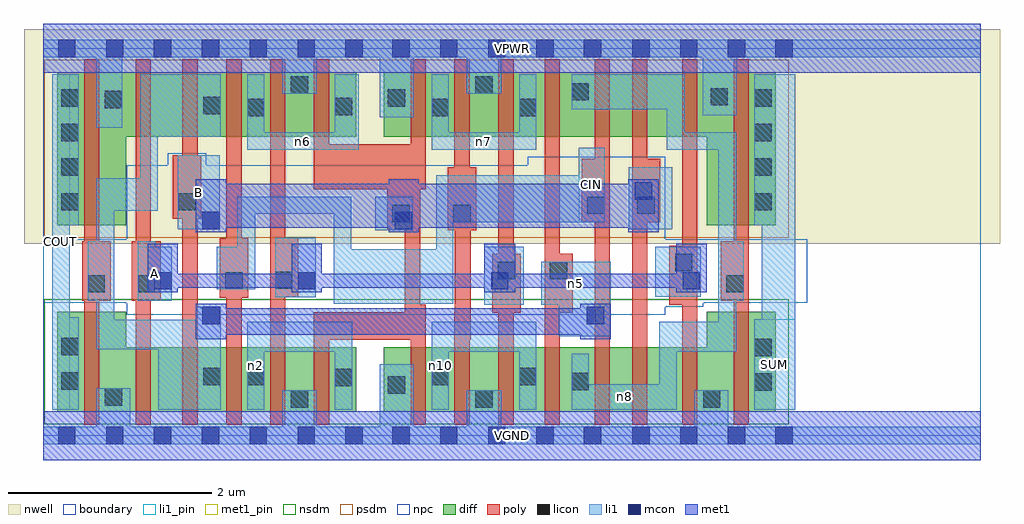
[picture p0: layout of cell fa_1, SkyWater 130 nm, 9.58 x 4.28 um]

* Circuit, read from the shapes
.subckt fa_1 A B CIN COUT SUM VGND VPWR n10 n2 n5 n6 n7 n8
XM1 VGND n5 COUT VSUBS sky130_fd_pr__nfet_01v8 w=0.98 l=0.15
XM2 n1 A VGND VSUBS sky130_fd_pr__nfet_01v8 w=0.63 l=0.15
XM3 n5 B n1 VSUBS sky130_fd_pr__nfet_01v8 w=0.63 l=0.15
XM4 n2 CIN n5 VSUBS sky130_fd_pr__nfet_01v8 w=0.63 l=0.15
XM5 VGND A n2 VSUBS sky130_fd_pr__nfet_01v8 w=0.63 l=0.15
XM6 n2 B VGND VSUBS sky130_fd_pr__nfet_01v8 w=0.63 l=0.15
XM7 n10 B VGND VSUBS sky130_fd_pr__nfet_01v8 w=0.63 l=0.15
XM8 VGND CIN n10 VSUBS sky130_fd_pr__nfet_01v8 w=0.63 l=0.15
XM9 n10 A VGND VSUBS sky130_fd_pr__nfet_01v8 w=0.63 l=0.15
XM10 n8 n5 n10 VSUBS sky130_fd_pr__nfet_01v8 w=0.63 l=0.15
XM11 n3 CIN n8 VSUBS sky130_fd_pr__nfet_01v8 w=0.63 l=0.15
XM12 n4 B n3 VSUBS sky130_fd_pr__nfet_01v8 w=0.63 l=0.15
XM13 VGND A n4 VSUBS sky130_fd_pr__nfet_01v8 w=0.63 l=0.15
XM14 SUM n8 VGND VSUBS sky130_fd_pr__nfet_01v8 w=0.98 l=0.15
XM15 VPWR n5 COUT n9 sky130_fd_pr__pfet_01v8 w=1.5 l=0.15
XM16 n11 A VPWR n9 sky130_fd_pr__pfet_01v8 w=0.63 l=0.15
XM17 n5 B n11 n9 sky130_fd_pr__pfet_01v8 w=0.63 l=0.15
XM18 n6 CIN n5 n9 sky130_fd_pr__pfet_01v8 w=0.63 l=0.15
XM19 VPWR A n6 n9 sky130_fd_pr__pfet_01v8 w=0.63 l=0.15
XM20 n6 B VPWR n9 sky130_fd_pr__pfet_01v8 w=0.63 l=0.15
XM21 n7 B VPWR n9 sky130_fd_pr__pfet_01v8 w=0.63 l=0.15
XM22 VPWR CIN n7 n9 sky130_fd_pr__pfet_01v8 w=0.63 l=0.15
XM23 n7 A VPWR n9 sky130_fd_pr__pfet_01v8 w=0.63 l=0.15
XM24 n8 n5 n7 n9 sky130_fd_pr__pfet_01v8 w=0.63 l=0.15
XM25 n12 CIN n8 n9 sky130_fd_pr__pfet_01v8 w=0.63 l=0.15
XM26 n13 B n12 n9 sky130_fd_pr__pfet_01v8 w=0.63 l=0.15
XM27 VPWR A n13 n9 sky130_fd_pr__pfet_01v8 w=0.63 l=0.15
XM28 SUM n8 VPWR n9 sky130_fd_pr__pfet_01v8 w=1.5 l=0.15
.ends

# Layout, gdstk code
import gdstk
lib = gdstk.Library(unit=1e-6, precision=1e-09)
def R(c, l, rs):  # rectangles x0, y0, x1, y1
    for r in rs: c.add(gdstk.rectangle(r[:2], r[2:], *l))
def A(c, l, x, y, w, h, nx, ny, dx, dy):  # array of equal rectangles
    R(c, l, [(x+i*dx, y+j*dy, x+i*dx+w, y+j*dy+h) for i in range(nx) for j in range(ny)])
nwell = (64, 20)
diff = (65, 20)
poly = (66, 20)
licon = (66, 44)
li1_pin = (67, 16)
li1 = (67, 20)
mcon = (67, 44)
met1_pin = (68, 16)
met1 = (68, 20)
nsdm = (93, 44)
psdm = (94, 20)
npc = (95, 20)
boundary = (235, 4)

fa_1 = lib.new_cell('fa_1')
R(fa_1, nwell, [(-0.19,1.885,9.39,3.99), (0,1.885,9.2,3.99)])
R(fa_1, diff, [(0.135,0.235,3.07,0.865), (0.135,0.235,0.815,1.215), (3.34,0.235,7.19,0.865), (6.51,0.235,7.19,1.215), (0.135,2.065,0.815,3.565), (6.51,2.065,7.19,3.565), (0.135,2.935,3.07,3.565), (3.34,2.935,7.19,3.565)])
A(fa_1, poly, 1.365, 0.105, 0.15, 3.59, 3, 1, 0.43, 0)
R(fa_1, poly, [(0.4,0.105,0.55,3.695), (0.905,0.105,1.055,3.695), (2.655,0.105,2.805,1.21), (3.605,0.105,3.7,3.695), (3.605,0.105,3.755,1.285), (4.035,0.105,4.185,1.21), (4.465,0.105,4.615,3.695), (4.92,0.105,5.07,3.695), (5.41,0.105,5.56,3.695), (5.78,0.105,5.93,3.695), (6.27,0.105,6.42,3.695), (6.775,0.105,6.925,3.695), (2.655,0.94,3.755,1.21), (3.545,0.94,3.7,2.86), (4.04,0.94,4.195,2.635), (4.405,1.205,4.685,1.785), (4.92,1.205,5.195,1.785), (6.145,1.285,6.42,1.865), (0.38,1.325,0.66,1.905), (0.87,1.325,1.15,1.905), (6.65,1.325,6.925,1.905), (1.73,1.355,2.01,1.935), (2.225,1.36,2.5,1.94), (3.375,2.015,3.7,2.86), (3.97,2.015,4.25,2.635), (4.035,2.015,4.185,3.695), (5.285,2.095,5.56,2.715), (5.78,2.095,6.055,2.715), (1.27,2.13,1.55,2.75), (2.655,2.42,3.755,2.86), (2.655,2.42,2.805,3.695), (3.605,2.42,3.755,3.695)])
A(fa_1, licon, 0.175, 2.21, 0.17, 0.17, 1, 4, 0, 0.34)
A(fa_1, licon, 6.98, 2.21, 0.17, 0.17, 1, 4, 0, 0.34)
R(fa_1, licon, [(2.43,0.275,2.6,0.445), (4.24,0.275,4.41,0.445), (6.475,0.275,6.645,0.445), (0.605,0.295,0.775,0.465), (3.38,0.41,3.55,0.58), (6.98,0.44,7.15,0.61), (5.185,0.445,5.355,0.615), (0.175,0.45,0.345,0.62), (2.86,0.485,3.03,0.655), (1.57,0.495,1.74,0.665), (2,0.495,2.17,0.665), (3.81,0.495,3.98,0.665), (4.67,0.495,4.84,0.665), (6.98,0.78,7.15,0.95), (0.175,0.79,0.345,0.96), (0.435,1.405,0.605,1.575), (0.925,1.405,1.095,1.575), (6.705,1.405,6.875,1.575), (1.785,1.435,1.955,1.605), (2.275,1.44,2.445,1.61), (4.46,1.535,4.63,1.705), (4.97,1.535,5.14,1.705), (6.2,1.615,6.37,1.785), (3.425,2.095,3.595,2.265), (4.025,2.095,4.195,2.265), (5.34,2.175,5.51,2.345), (5.83,2.175,6,2.345), (1.325,2.21,1.495,2.38), (2,3.135,2.17,3.305), (3.81,3.135,3.98,3.305), (4.67,3.135,4.84,3.305), (2.86,3.145,3.03,3.315), (1.57,3.155,1.74,3.325), (0.605,3.215,0.775,3.385), (3.38,3.23,3.55,3.4), (6.55,3.24,6.72,3.41), (5.185,3.29,5.355,3.46), (2.43,3.355,2.6,3.525), (4.24,3.355,4.41,3.525)])
R(fa_1, li1_pin, [(0.085,0.255,0.26,3.545), (6.98,0.255,7.38,1.14), (0.925,1.325,1.26,1.855), (1.32,2.025,1.73,2.75), (5.255,2.095,5.51,2.825)])
R(fa_1, li1, [(0,-0.085,9.2,0.085), (0.52,-0.085,0.855,0.465), (2.345,-0.085,2.685,0.445), (3.3,-0.085,3.635,0.7), (4.155,-0.085,4.495,0.445), (6.39,-0.085,6.725,0.445), (0.085,0.255,0.26,3.545), (0.085,0.255,0.345,1.16), (1.13,0.255,1.74,1.135), (1.495,0.255,1.74,1.265), (2,0.255,2.17,1.115), (2.86,0.255,3.03,1.115), (3.81,0.255,3.98,1.115), (4.67,0.255,4.84,1.115), (5.185,0.255,6.215,0.505), (5.185,0.255,5.355,0.805), (6.045,0.255,6.215,1.115), (6.98,0.255,7.38,1.14), (7.05,0.255,7.38,3.545), (2,0.825,3.03,1.115), (3.81,0.825,4.84,1.115), (6.045,0.825,6.8,1.115), (6.625,0.825,6.8,2.975), (0.52,0.845,0.695,2.525), (0.52,0.845,1.74,1.135), (5.06,0.975,5.57,1.705), (4.33,1.285,4.715,1.855), (4.885,1.285,5.57,1.705), (2.85,1.295,4.025,1.83), (2.85,1.295,3.02,2.345), (3.855,1.295,4.025,2.555), (0.435,1.325,0.695,1.905), (0.925,1.325,1.26,1.855), (0.925,1.325,1.1,1.905), (6.625,1.325,6.875,1.905), (2.275,1.36,2.675,1.94), (6.005,1.365,6.455,1.855), (1.7,1.435,2.08,1.855), (1.905,1.435,2.08,2.345), (3.26,2.015,3.625,2.345), (1.32,2.025,1.73,2.75), (5.745,2.025,6.175,2.635), (0.085,2.065,0.345,3.545), (6.98,2.065,7.38,3.545), (3.855,2.095,5.51,2.555), (5.255,2.095,5.51,2.825), (1.905,2.175,3.02,2.345), (0.52,2.205,1.125,2.525), (0.95,2.205,1.125,3.545), (2,2.805,3.095,2.975), (2,2.805,2.17,3.545), (2.86,2.805,3.095,3.545), (3.81,2.805,3.98,3.545), (3.81,2.805,4.84,2.975), (4.67,2.805,4.84,3.545), (6.12,2.805,6.8,2.975), (6.12,2.805,6.295,3.545), (0.95,2.935,1.74,3.545), (0.52,3.02,0.775,3.885), (3.3,3.125,3.635,3.885), (6.47,3.145,6.805,3.885), (5.185,3.205,6.295,3.545), (2.345,3.355,2.685,3.885), (4.155,3.355,4.495,3.885), (0,3.715,9.2,3.885)])
A(fa_1, mcon, 0.145, -0.085, 0.17, 0.17, 7, 2, 0.47, 3.8)
A(fa_1, mcon, 3.425, -0.085, 0.17, 0.17, 3, 2, 0.47, 3.8)
A(fa_1, mcon, 5.78, -0.085, 0.17, 0.17, 3, 2, 0.47, 3.8)
R(fa_1, mcon, [(4.84,-0.085,5.01,0.085), (5.305,-0.085,5.475,0.085), (7.185,-0.085,7.355,0.085), (1.56,1.095,1.73,1.265), (5.335,1.095,5.505,1.265), (1.09,1.435,1.26,1.605), (2.5,1.435,2.67,1.605), (4.395,1.435,4.565,1.605), (6.275,1.435,6.445,1.605), (1.56,2.025,1.73,2.195), (3.45,2.025,3.62,2.195), (5.805,2.315,5.975,2.485), (4.84,3.715,5.01,3.885), (5.305,3.715,5.475,3.885), (7.185,3.715,7.355,3.885)])
R(fa_1, met1_pin, [(0,-0.24,9.2,0.24), (0,3.56,9.2,4.04)])
R(fa_1, met1, [(0,-0.24,9.2,0.24), (1.495,0.945,1.795,1.295), (5.27,0.945,5.57,1.295), (1.495,0.99,5.57,1.25), (1.025,1.405,1.32,1.885), (2.44,1.405,2.735,1.885), (4.33,1.405,4.63,1.885), (6.21,1.405,6.51,1.885), (1.025,1.45,6.51,1.59), (1.495,1.995,1.795,2.515), (3.39,1.995,3.685,2.515), (5.74,1.995,6.04,2.515), (1.495,2.04,6.04,2.47), (0,3.56,9.2,4.04)])
R(fa_1, nsdm, [(0.01,0.11,7.315,1.34)])
R(fa_1, psdm, [(0.01,1.94,7.315,3.69)])
R(fa_1, npc, [(0.82,1.185,6.105,2.655), (1.22,1.185,1.6,2.77), (4.755,1.185,6.105,2.735), (0.82,1.265,6.475,1.925), (0,1.305,7.5,1.925)])
R(fa_1, boundary, [(0,0,9.2,3.8)])
fa_1.add(gdstk.Label('A', (1.092,1.59), layer=67, texttype=5))
fa_1.add(gdstk.Label('B', (1.525,2.387), layer=67, texttype=5))
fa_1.add(gdstk.Label('CIN', (5.382,2.46), layer=67, texttype=5))
fa_1.add(gdstk.Label('COUT', (0.172,1.9), layer=67, texttype=5))
fa_1.add(gdstk.Label('SUM', (7.18,0.697), layer=67, texttype=5))
fa_1.add(gdstk.Label('n2', (2.085,0.685), layer=67, texttype=5))
fa_1.add(gdstk.Label('n10', (3.895,0.685), layer=67, texttype=5))
fa_1.add(gdstk.Label('n5', (5.227,1.495), layer=67, texttype=5))
fa_1.add(gdstk.Label('n6', (2.547,2.89), layer=67, texttype=5))
fa_1.add(gdstk.Label('n7', (4.325,2.89), layer=67, texttype=5))
fa_1.add(gdstk.Label('n8', (5.7,0.38), layer=67, texttype=5))
fa_1.add(gdstk.Label('VPWR', (4.6,3.8), layer=68, texttype=5))
fa_1.add(gdstk.Label('VGND', (4.6,0), layer=68, texttype=5))
fa_1.add(gdstk.Label('A', (1.092,1.59), layer=67, texttype=16))
fa_1.add(gdstk.Label('B', (1.525,2.387), layer=67, texttype=16))
fa_1.add(gdstk.Label('CIN', (5.382,2.46), layer=67, texttype=16))
fa_1.add(gdstk.Label('COUT', (0.172,1.9), layer=67, texttype=16))
fa_1.add(gdstk.Label('SUM', (7.18,0.697), layer=67, texttype=16))
fa_1.add(gdstk.Label('VPWR', (4.6,3.8), layer=68, texttype=16))
fa_1.add(gdstk.Label('VGND', (4.6,0), layer=68, texttype=16))

lib.write_gds('fa_1.gds')
